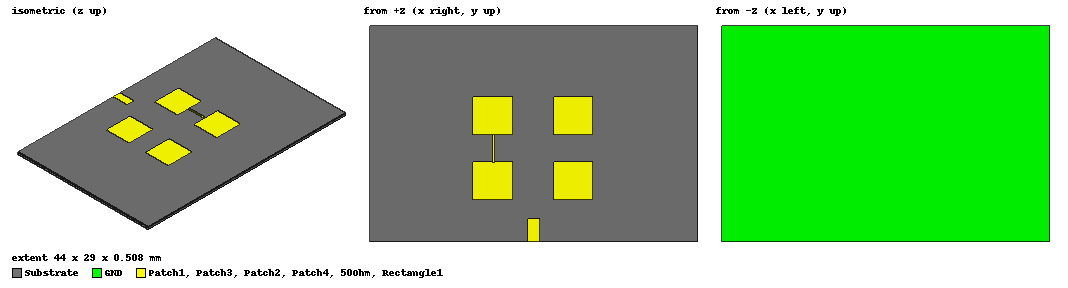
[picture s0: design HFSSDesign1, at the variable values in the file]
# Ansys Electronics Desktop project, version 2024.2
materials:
  vacuum: permittivity=1
  Rogers RT/duroid 5880 (tm): permittivity=2.2 dielectric_loss_tangent=0.0009

design HFSSDesign1 (HFSS, HFSS Terminal Network, model units mm)
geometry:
  Substrate [Rogers RT/duroid 5880 (tm)] = box(corner=(0mm, 0mm, 0mm), size=((88/2) mm, 29mm, 0.508mm))
  GND = rectangle(corner=(0mm, 0mm, 0mm), x_size=44mm, y_size=29mm)
  50Ohm = rectangle(corner=(21.25mm, 0mm, 0.508mm), x_size=1.5mm, y_size=3.1mm)
  Patch1 = rectangle(corner=(13.835mm, 5.6mm, 0.508mm), x_size=5.3mm, y_size=5.1mm)
  Patch2 = rectangle(corner=(24.625mm, 5.6mm, 0.508mm), x_size=5.3mm, y_size=5.1mm)
  Patch3 = rectangle(corner=(13.835mm, 14.32mm, 0.508mm), x_size=5.3mm, y_size=5.1mm)
  Patch4 = rectangle(corner=(24.625mm, 14.32mm, 0.508mm), x_size=5.3mm, y_size=5.1mm)
  Rectangle1 = rectangle(corner=(16.485mm, 14.32mm, 0.508mm), x_size=0.315mm, y_size=-3.72mm)
